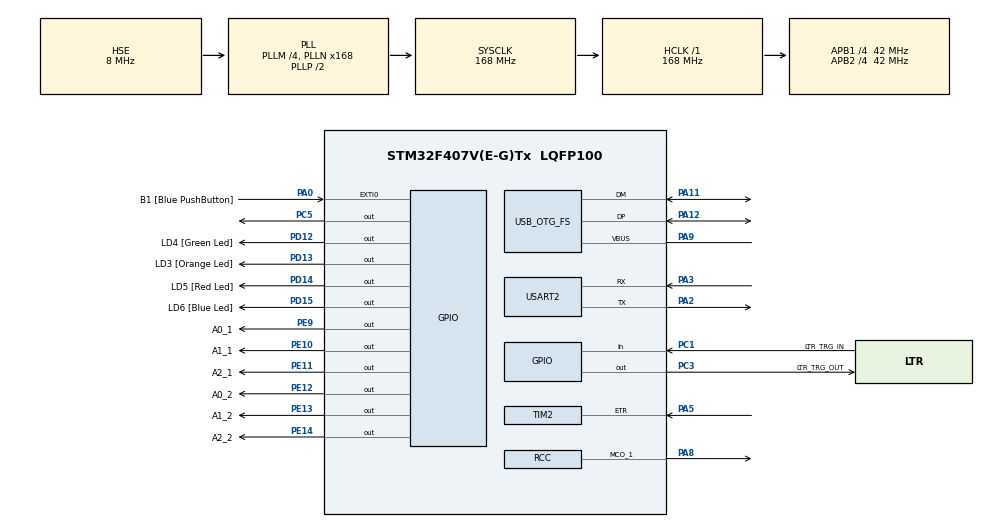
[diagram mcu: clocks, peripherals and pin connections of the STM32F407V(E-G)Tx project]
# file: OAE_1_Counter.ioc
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Mcu.Family=STM32F4
Mcu.Name=STM32F407V(E-G)Tx
Mcu.Package=LQFP100
NVIC.OTG_FS_IRQn=true\:0\:0\:false\:false\:true\:false\:true
NVIC.PriorityGroup=NVIC_PRIORITYGROUP_0
NVIC.TIM8_BRK_TIM12_IRQn=true\:0\:0\:false\:false\:true\:true\:true
NVIC.USART2_IRQn=true\:0\:0\:false\:false\:true\:true\:true
PA0-WKUP.GPIO_Label=B1 [Blue PushButton]
PA0-WKUP.Signal=GPXTI0
PA11.Mode=Device_Only
PA11.Signal=USB_OTG_FS_DM
PA12.Mode=Device_Only
PA12.Signal=USB_OTG_FS_DP
PA2.Mode=Asynchronous
PA2.Signal=USART2_TX
PA3.Mode=Asynchronous
PA3.Signal=USART2_RX
PA5.GPIO_PuPd=GPIO_PULLDOWN
PA5.Signal=S_TIM2_CH1_ETR
PA8.Mode=Clock-out-1
PA8.Signal=RCC_MCO_1
PA9.Mode=Activate_VBUS
PA9.Signal=USB_OTG_FS_VBUS
PC1.GPIO_Label=LTR_TRG_IN
PC1.Signal=GPIO_Input
PC3.GPIO_Label=LTR_TRG_OUT
PC3.Signal=GPIO_Output
PC5.GPIO_Speed=GPIO_SPEED_FREQ_HIGH
PC5.PinState=GPIO_PIN_SET
PC5.Signal=GPIO_Output
PD12.GPIO_Label=LD4 [Green Led]
PD12.GPIO_PuPd=GPIO_NOPULL
PD12.GPIO_Speed=GPIO_SPEED_FREQ_LOW
PD12.Signal=GPIO_Output
PD13.GPIO_Label=LD3 [Orange Led]
PD13.GPIO_PuPd=GPIO_NOPULL
PD13.GPIO_Speed=GPIO_SPEED_FREQ_LOW
PD13.Signal=GPIO_Output
PD14.GPIO_Label=LD5 [Red Led]
PD14.GPIO_PuPd=GPIO_NOPULL
PD14.GPIO_Speed=GPIO_SPEED_FREQ_LOW
PD14.Signal=GPIO_Output
PD15.GPIO_Label=LD6 [Blue Led]
PD15.GPIO_PuPd=GPIO_NOPULL
PD15.GPIO_Speed=GPIO_SPEED_FREQ_LOW
PD15.Signal=GPIO_Output
PE10.GPIO_Label=A1_1
PE10.Signal=GPIO_Output
PE11.GPIO_Label=A2_1
PE11.Signal=GPIO_Output
PE12.GPIO_Label=A0_2
PE12.Signal=GPIO_Output
PE13.GPIO_Label=A1_2
PE13.Signal=GPIO_Output
PE14.GPIO_Label=A2_2
PE14.Signal=GPIO_Output
PE9.GPIO_Label=A0_1
PE9.Signal=GPIO_Output
PH0-OSC_IN.Mode=HSE-External-Oscillator
PH0-OSC_IN.Signal=RCC_OSC_IN
PH1-OSC_OUT.Mode=HSE-External-Oscillator
PH1-OSC_OUT.Signal=RCC_OSC_OUT
ProjectManager.HeapSize=0x200
ProjectManager.StackSize=0x400
ProjectManager.TargetToolchain=STM32CubeIDE
RCC.48MHZClocksFreq_Value=48000000
RCC.AHBFreq_Value=168000000
RCC.APB1CLKDivider=RCC_HCLK_DIV4
RCC.APB1Freq_Value=42000000
RCC.APB1TimFreq_Value=84000000
RCC.APB2CLKDivider=RCC_HCLK_DIV4
RCC.APB2Freq_Value=42000000
RCC.APB2TimFreq_Value=84000000
RCC.CortexFreq_Value=168000000
RCC.HCLKFreq_Value=168000000
RCC.HSE_VALUE=8000000
RCC.HSI_VALUE=16000000
RCC.LSE_VALUE=32768
RCC.PLLM=4
RCC.PLLN=168
RCC.PLLQ=7
RCC.SYSCLKFreq_VALUE=168000000
RCC.SYSCLKSource=RCC_SYSCLKSOURCE_PLLCLK
RCC.VCOOutputFreq_Value=336000000
SH.S_TIM2_CH1_ETR.0=TIM2_ETR,ClockSourceETR_Mode2
TIM12.ClockDivision=TIM_CLOCKDIVISION_DIV1
TIM12.Period=3999
TIM12.Prescaler=20999
USART2.VirtualMode=VM_ASYNC
USB_DEVICE.CLASS_NAME_FS=CDC
USB_DEVICE.MANUFACTURER_STRING-CDC_FS=KEKEKE
USB_DEVICE.PRODUCT_STRING_CDC_FS=AZAZA
USB_DEVICE.VirtualMode-CDC_FS=Cdc
USB_DEVICE.VirtualModeFS=Cdc_FS
USB_OTG_FS.VirtualMode=Device_Only
VP_TIM12_VS_ClockSourceINT.Mode=Internal
VP_TIM12_VS_OPM.Mode=OPM_bit
VP_USB_DEVICE_VS_USB_DEVICE_CDC_FS.Mode=CDC_FS
board=STM32F407G-DISC1

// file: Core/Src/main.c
/* USER CODE BEGIN Header */
/**
 ******************************************************************************
 * @file           : main.c
 * @brief          : Main program body
 ******************************************************************************
 * @attention
 *
 * <h2><center>&copy; Copyright (c) 2020 STMicroelectronics.
 * All rights reserved.</center></h2>
 *
 * This software component is licensed by ST under BSD 3-Clause license,
 * the "License"; You may not use this file except in compliance with the
 * License. You may obtain a copy of the License at:
 *                        opensource.org/licenses/BSD-3-Clause
 *
 ******************************************************************************
 */
/* USER CODE END Header */
#include "main.h"
#include "usb_device.h"

/* USER CODE BEGIN Includes */
#include "ProjectApp.h"
/* USER CODE END Includes */

TIM_HandleTypeDef htim2;
TIM_HandleTypeDef htim12;

UART_HandleTypeDef huart2;

void SystemClock_Config(void);
static void MX_GPIO_Init(void);
static void MX_TIM2_Init(void);
static void MX_TIM12_Init(void);
static void MX_USART2_UART_Init(void);

/* USER CODE BEGIN 0 */

void toggleSelector(Selector selector,uint8_t bit0, uint8_t bit1, uint8_t bit2)
{
	switch (selector) {
		case Selector_0:
			HAL_GPIO_WritePin(GPIOE, A0_1_Pin, bit0);
			HAL_GPIO_WritePin(GPIOE, A1_1_Pin, bit1);
			HAL_GPIO_WritePin(GPIOE, A2_1_Pin, bit2);
			break;
		case Selector_1:
			HAL_GPIO_WritePin(GPIOE, A0_2_Pin, bit0);
			HAL_GPIO_WritePin(GPIOE, A1_2_Pin, bit1);
			HAL_GPIO_WritePin(GPIOE, A2_2_Pin, bit2);
			break;
		default:
			break;
	}
}
/* USER CODE END 0 */

int main(void)
{

  /* MCU Configuration--------------------------------------------------------*/

  /* Reset of all peripherals, Initializes the Flash interface and the Systick. */
  HAL_Init();

  /* Configure the system clock */
  SystemClock_Config();

  /* Initialize all configured peripherals */
  MX_GPIO_Init();
  MX_USB_DEVICE_Init();
  MX_TIM2_Init();
  MX_TIM12_Init();
  MX_USART2_UART_Init();
  /* USER CODE BEGIN 2 */
  HAL_GPIO_WritePin(GPIOD, GPIO_PIN_14, GPIO_PIN_SET);
	startMeasurement();
	//HAL_TIM_Base_Start_IT(&htim12);
	//HAL_TIM_Base_Start(&htim2);
  /* USER CODE END 2 */

  /* Infinite loop */
  /* USER CODE BEGIN WHILE */

	while (1) {
	appTick();
    /* USER CODE END WHILE */

	}
}

void SystemClock_Config(void)
{
  RCC_OscInitTypeDef RCC_OscInitStruct = {0};
  RCC_ClkInitTypeDef RCC_ClkInitStruct = {0};

  /** Configure the main internal regulator output voltage
  */
  __HAL_RCC_PWR_CLK_ENABLE();
  __HAL_PWR_VOLTAGESCALING_CONFIG(PWR_REGULATOR_VOLTAGE_SCALE1);
  /** Initializes the RCC Oscillators according to the specified parameters
  * in the RCC_OscInitTypeDef structure.
  */
  RCC_OscInitStruct.OscillatorType = RCC_OSCILLATORTYPE_HSI|RCC_OSCILLATORTYPE_HSE;
  RCC_OscInitStruct.HSEState = RCC_HSE_ON;
  RCC_OscInitStruct.HSIState = RCC_HSI_ON;
  RCC_OscInitStruct.HSICalibrationValue = RCC_HSICALIBRATION_DEFAULT;
  RCC_OscInitStruct.PLL.PLLState = RCC_PLL_ON;
  RCC_OscInitStruct.PLL.PLLSource = RCC_PLLSOURCE_HSE;
  RCC_OscInitStruct.PLL.PLLM = 4;
  RCC_OscInitStruct.PLL.PLLN = 168;
  RCC_OscInitStruct.PLL.PLLP = RCC_PLLP_DIV2;
  RCC_OscInitStruct.PLL.PLLQ = 7;
  if (HAL_RCC_OscConfig(&RCC_OscInitStruct) != HAL_OK)
  {
    Error_Handler();
  }
  /** Initializes the CPU, AHB and APB buses clocks
  */
  RCC_ClkInitStruct.ClockType = RCC_CLOCKTYPE_HCLK|RCC_CLOCKTYPE_SYSCLK
                              |RCC_CLOCKTYPE_PCLK1|RCC_CLOCKTYPE_PCLK2;
  RCC_ClkInitStruct.SYSCLKSource = RCC_SYSCLKSOURCE_PLLCLK;
  RCC_ClkInitStruct.AHBCLKDivider = RCC_SYSCLK_DIV1;
  RCC_ClkInitStruct.APB1CLKDivider = RCC_HCLK_DIV4;
  RCC_ClkInitStruct.APB2CLKDivider = RCC_HCLK_DIV4;

  if (HAL_RCC_ClockConfig(&RCC_ClkInitStruct, FLASH_LATENCY_5) != HAL_OK)
  {
    Error_Handler();
  }
  HAL_RCC_MCOConfig(RCC_MCO1, RCC_MCO1SOURCE_HSI, RCC_MCODIV_1);
}

static void MX_TIM2_Init(void)
{

  TIM_ClockConfigTypeDef sClockSourceConfig = {0};
  TIM_MasterConfigTypeDef sMasterConfig = {0};

  htim2.Instance = TIM2;
  htim2.Init.Prescaler = 0;
  htim2.Init.CounterMode = TIM_COUNTERMODE_UP;
  htim2.Init.Period = 4294967295;
  htim2.Init.ClockDivision = TIM_CLOCKDIVISION_DIV1;
  htim2.Init.AutoReloadPreload = TIM_AUTORELOAD_PRELOAD_DISABLE;
  if (HAL_TIM_Base_Init(&htim2) != HAL_OK)
  {
    Error_Handler();
  }
  sClockSourceConfig.ClockSource = TIM_CLOCKSOURCE_ETRMODE2;
  sClockSourceConfig.ClockPolarity = TIM_CLOCKPOLARITY_NONINVERTED;
  sClockSourceConfig.ClockPrescaler = TIM_CLOCKPRESCALER_DIV1;
  sClockSourceConfig.ClockFilter = 0;
  if (HAL_TIM_ConfigClockSource(&htim2, &sClockSourceConfig) != HAL_OK)
  {
    Error_Handler();
  }
  sMasterConfig.MasterOutputTrigger = TIM_TRGO_RESET;
  sMasterConfig.MasterSlaveMode = TIM_MASTERSLAVEMODE_DISABLE;
  if (HAL_TIMEx_MasterConfigSynchronization(&htim2, &sMasterConfig) != HAL_OK)
  {
    Error_Handler();
  }

}

static void MX_TIM12_Init(void)
{

  TIM_ClockConfigTypeDef sClockSourceConfig = {0};

  htim12.Instance = TIM12;
  htim12.Init.Prescaler = 20999;
  htim12.Init.CounterMode = TIM_COUNTERMODE_UP;
  htim12.Init.Period = 3999;
  htim12.Init.ClockDivision = TIM_CLOCKDIVISION_DIV1;
  htim12.Init.AutoReloadPreload = TIM_AUTORELOAD_PRELOAD_DISABLE;
  if (HAL_TIM_Base_Init(&htim12) != HAL_OK)
  {
    Error_Handler();
  }
  sClockSourceConfig.ClockSource = TIM_CLOCKSOURCE_INTERNAL;
  if (HAL_TIM_ConfigClockSource(&htim12, &sClockSourceConfig) != HAL_OK)
  {
    Error_Handler();
  }
  if (HAL_TIM_OnePulse_Init(&htim12, TIM_OPMODE_SINGLE) != HAL_OK)
  {
    Error_Handler();
  }

}

static void MX_USART2_UART_Init(void)
{

  huart2.Instance = USART2;
  huart2.Init.BaudRate = 115200;
  huart2.Init.WordLength = UART_WORDLENGTH_8B;
  huart2.Init.StopBits = UART_STOPBITS_1;
  huart2.Init.Parity = UART_PARITY_NONE;
  huart2.Init.Mode = UART_MODE_TX_RX;
  huart2.Init.HwFlowCtl = UART_HWCONTROL_NONE;
  huart2.Init.OverSampling = UART_OVERSAMPLING_16;
  if (HAL_UART_Init(&huart2) != HAL_OK)
  {
    Error_Handler();
  }

}

static void MX_GPIO_Init(void)
{
  GPIO_InitTypeDef GPIO_InitStruct = {0};

  /* GPIO Ports Clock Enable */
  __HAL_RCC_GPIOH_CLK_ENABLE();
  __HAL_RCC_GPIOC_CLK_ENABLE();
  __HAL_RCC_GPIOA_CLK_ENABLE();
  __HAL_RCC_GPIOE_CLK_ENABLE();
  __HAL_RCC_GPIOD_CLK_ENABLE();

  /*Configure GPIO pin Output Level */
  HAL_GPIO_WritePin(LTR_TRG_OUT_GPIO_Port, LTR_TRG_OUT_Pin, GPIO_PIN_RESET);

  /*Configure GPIO pin Output Level */
  HAL_GPIO_WritePin(GPIOC, GPIO_PIN_5, GPIO_PIN_SET);

  /*Configure GPIO pin Output Level */
  HAL_GPIO_WritePin(GPIOE, A0_1_Pin|A1_1_Pin|A2_1_Pin|A0_2_Pin
                          |A1_2_Pin|A2_2_Pin, GPIO_PIN_RESET);

  /*Configure GPIO pin Output Level */
  HAL_GPIO_WritePin(GPIOD, LD4_Pin|LD3_Pin|LD5_Pin|LD6_Pin, GPIO_PIN_RESET);

  /*Configure GPIO pin : LTR_TRG_IN_Pin */
  GPIO_InitStruct.Pin = LTR_TRG_IN_Pin;
  GPIO_InitStruct.Mode = GPIO_MODE_INPUT;
  GPIO_InitStruct.Pull = GPIO_NOPULL;
  HAL_GPIO_Init(LTR_TRG_IN_GPIO_Port, &GPIO_InitStruct);

  /*Configure GPIO pin : LTR_TRG_OUT_Pin */
  GPIO_InitStruct.Pin = LTR_TRG_OUT_Pin;
  GPIO_InitStruct.Mode = GPIO_MODE_OUTPUT_PP;
  GPIO_InitStruct.Pull = GPIO_NOPULL;
  GPIO_InitStruct.Speed = GPIO_SPEED_FREQ_LOW;
  HAL_GPIO_Init(LTR_TRG_OUT_GPIO_Port, &GPIO_InitStruct);

  /*Configure GPIO pin : B1_Pin */
  GPIO_InitStruct.Pin = B1_Pin;
  GPIO_InitStruct.Mode = GPIO_MODE_IT_RISING;
  GPIO_InitStruct.Pull = GPIO_NOPULL;
  HAL_GPIO_Init(B1_GPIO_Port, &GPIO_InitStruct);

  /*Configure GPIO pin : PC5 */
  GPIO_InitStruct.Pin = GPIO_PIN_5;
  GPIO_InitStruct.Mode = GPIO_MODE_OUTPUT_PP;
  GPIO_InitStruct.Pull = GPIO_NOPULL;
  GPIO_InitStruct.Speed = GPIO_SPEED_FREQ_HIGH;
  HAL_GPIO_Init(GPIOC, &GPIO_InitStruct);

  /*Configure GPIO pins : A0_1_Pin A1_1_Pin A2_1_Pin A0_2_Pin
                           A1_2_Pin A2_2_Pin */
  GPIO_InitStruct.Pin = A0_1_Pin|A1_1_Pin|A2_1_Pin|A0_2_Pin
                          |A1_2_Pin|A2_2_Pin;
  GPIO_InitStruct.Mode = GPIO_MODE_OUTPUT_PP;
  GPIO_InitStruct.Pull = GPIO_NOPULL;
  GPIO_InitStruct.Speed = GPIO_SPEED_FREQ_LOW;
  HAL_GPIO_Init(GPIOE, &GPIO_InitStruct);

  /*Configure GPIO pins : LD4_Pin LD3_Pin LD5_Pin LD6_Pin */
  GPIO_InitStruct.Pin = LD4_Pin|LD3_Pin|LD5_Pin|LD6_Pin;
  GPIO_InitStruct.Mode = GPIO_MODE_OUTPUT_PP;
  GPIO_InitStruct.Pull = GPIO_NOPULL;
  GPIO_InitStruct.Speed = GPIO_SPEED_FREQ_LOW;
  HAL_GPIO_Init(GPIOD, &GPIO_InitStruct);

  /*Configure GPIO pin : PA8 */
  GPIO_InitStruct.Pin = GPIO_PIN_8;
  GPIO_InitStruct.Mode = GPIO_MODE_AF_PP;
  GPIO_InitStruct.Pull = GPIO_NOPULL;
  GPIO_InitStruct.Speed = GPIO_SPEED_FREQ_LOW;
  GPIO_InitStruct.Alternate = GPIO_AF0_MCO;
  HAL_GPIO_Init(GPIOA, &GPIO_InitStruct);

}

void Error_Handler(void)
{
}

/************************ (C) COPYRIGHT STMicroelectronics *****END OF FILE****/
